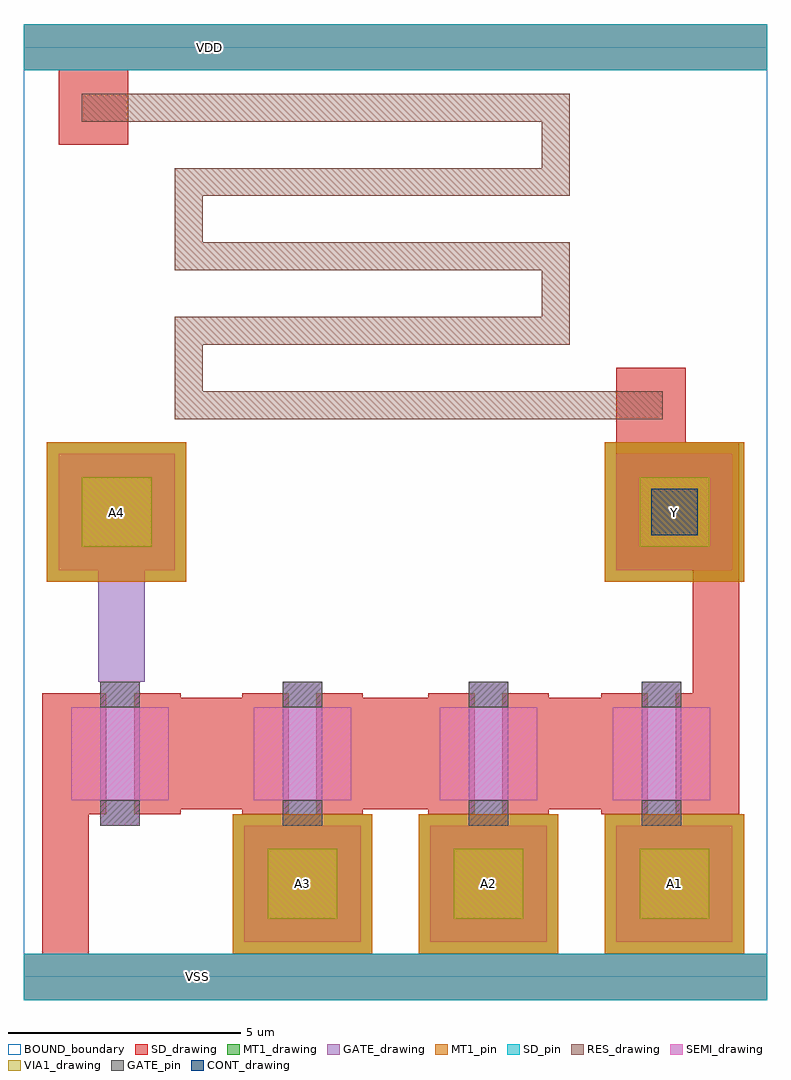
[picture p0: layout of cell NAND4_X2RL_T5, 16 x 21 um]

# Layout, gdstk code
from math import pi, radians
import gdstk
lib = gdstk.Library(unit=1e-6, precision=1e-09)
def R(c, l, rs):  # rectangles x0, y0, x1, y1
    for r in rs: c.add(gdstk.rectangle(r[:2], r[2:], *l))
def A(c, l, x, y, w, h, nx, ny, dx, dy):  # array of equal rectangles
    R(c, l, [(x+i*dx, y+j*dy, x+i*dx+w, y+j*dy+h) for i in range(nx) for j in range(ny)])
def P(c, l, *ps):  # polygons
    for p in ps: c.add(gdstk.Polygon(p, *l))
RES_drawing = (1, 0)
SEMI_drawing = (3, 0)
SD_drawing = (10, 0)
SD_pin = (10, 3)
GATE_drawing = (11, 0)
GATE_pin = (11, 3)
MT1_drawing = (20, 0)
MT1_pin = (20, 3)
CONT_drawing = (30, 0)
VIA1_drawing = (41, 0)
BOUND_boundary = (150, 5)

nch_cdns_772545048010 = lib.new_cell('nch_CDNS_772545048010')
R(nch_cdns_772545048010, SEMI_drawing, [(-1.05,-1,1.05,1)])
R(nch_cdns_772545048010, SD_drawing, [(-1.3,-1.3,-0.3,1.3), (0.3,-1.3,1.3,1.3)])
R(nch_cdns_772545048010, GATE_drawing, [(-0.425,-1.55,0.425,1.55)])
R(nch_cdns_772545048010, GATE_pin, [(-0.425,-1.55,0.425,-1), (-0.425,1,0.425,1.55)])

nch_cdns_772545048011 = lib.new_cell('nch_CDNS_772545048011')
R(nch_cdns_772545048011, SEMI_drawing, [(-1.05,-1,1.05,1)])
R(nch_cdns_772545048011, SD_drawing, [(-1.3,-1.3,-0.3,1.3), (0.3,-1.3,1.3,1.3)])
R(nch_cdns_772545048011, GATE_drawing, [(-0.425,-1.55,0.425,1.55)])
R(nch_cdns_772545048011, GATE_pin, [(-0.425,-1.55,0.425,-1), (-0.425,1,0.425,1.55)])

nch_cdns_772545048012 = lib.new_cell('nch_CDNS_772545048012')
R(nch_cdns_772545048012, SEMI_drawing, [(-1.05,-1,1.05,1)])
R(nch_cdns_772545048012, SD_drawing, [(-1.3,-1.3,-0.3,1.3), (0.3,-1.3,1.3,1.3)])
R(nch_cdns_772545048012, GATE_drawing, [(-0.425,-1.55,0.425,1.55)])
R(nch_cdns_772545048012, GATE_pin, [(-0.425,-1.55,0.425,-1), (-0.425,1,0.425,1.55)])

res_cdns_772545048013 = lib.new_cell('res_CDNS_772545048013')
A(res_cdns_772545048013, RES_drawing, -3.5, -4.25, 0.6, 8.5, 5, 1, 1.6, 0)
R(res_cdns_772545048013, RES_drawing, [(2.9,-6.25,3.5,-4.25), (-2.9,-4.25,-1.9,-3.65), (0.3,-4.25,1.3,-3.65), (-1.3,3.65,-0.3,4.25), (1.9,3.65,2.9,4.25), (-3.5,4.25,-2.9,6.25)])
R(res_cdns_772545048013, SD_drawing, [(2.4,-6.75,4,-5.25), (-4,5.25,-2.4,6.75)])

sd_gate_cdns_77254504801 = lib.new_cell('SD_GATE_CDNS_772545048010')
R(sd_gate_cdns_77254504801, SD_drawing, [(-1,-1,1,1)])
R(sd_gate_cdns_77254504801, GATE_drawing, [(-1,-1,1,1)])
R(sd_gate_cdns_77254504801, CONT_drawing, [(-0.5,-0.5,0.5,0.5)])

gate_mt1_cdns_7725450480 = lib.new_cell('GATE_MT1_CDNS_772545048011')
R(gate_mt1_cdns_7725450480, GATE_drawing, [(-1.25,-1.25,1.25,1.25)])
R(gate_mt1_cdns_7725450480, MT1_drawing, [(-1.25,-1.25,1.25,1.25)])
R(gate_mt1_cdns_7725450480, VIA1_drawing, [(-0.75,-0.75,0.75,0.75)])

nand4_x2rl_t5 = lib.new_cell('NAND4_X2RL_T5')
R(nand4_x2rl_t5, SD_drawing, [(0.4,0.5,1.4,6.1), (3.375,3.6,4.7,6), (7.3,3.6,8.7,6), (11.3,3.6,12.425,6), (12.75,8.75,15.25,11.25), (12.75,11.25,15.25,11.5)])
R(nand4_x2rl_t5, SD_pin, [(0,-0.5,16,0.5), (0,19.5,16,20.5)])
P(nand4_x2rl_t5, GATE_drawing, [(2.6,6.45),(1.6,6.45),(1.6,6.35),(1.7,6.35),(1.7,6.3),(2.45,6.3),(2.45,6.35),(2.6,6.35)],
  [(5.475,3.15),(6.475,3.15),(6.475,3.25),(6.375,3.25),(6.375,3.3),(5.625,3.3),(5.625,3.25),(5.475,3.25)],
  [(9.475,3.15),(10.475,3.15),(10.475,3.25),(10.375,3.25),(10.375,3.3),(9.625,3.3),(9.625,3.25),(9.475,3.25)],
  [(13.2,3.15),(14.2,3.15),(14.2,3.25),(14.1,3.25),(14.1,3.3),(13.35,3.3),(13.35,3.25),(13.2,3.25)])
A(nand4_x2rl_t5, MT1_drawing, 4.5, 0.5, 3, 3, 3, 1, 4, 0)
R(nand4_x2rl_t5, MT1_drawing, [(0.5,8.5,3.5,11.5), (12.5,8.5,15.5,11.5)])
A(nand4_x2rl_t5, MT1_pin, 4.5, 0.5, 3, 3, 3, 1, 4, 0)
R(nand4_x2rl_t5, MT1_pin, [(0.5,8.5,3.5,11.5), (12.5,8.5,15.5,11.5)])
R(nand4_x2rl_t5, BOUND_boundary, [(0,0,16,20)])
nand4_x2rl_t5.add(gdstk.FlexPath([(2.1,6.45),(2.1,8.75)], 1, ends="flush", simple_path=True, layer=11, datatype=0))  # GATE_drawing
nand4_x2rl_t5.add(gdstk.FlexPath([(0,20),(16,20)], 1, ends="flush", simple_path=True, layer=10, datatype=0))  # SD_drawing
nand4_x2rl_t5.add(gdstk.FlexPath([(0,0),(16,0)], 1, ends="flush", simple_path=True, layer=10, datatype=0))  # SD_drawing
nand4_x2rl_t5.add(gdstk.FlexPath([(14.9,3.5),(14.9,11.5)], 1, ends="flush", simple_path=True, layer=10, datatype=0))  # SD_drawing
nand4_x2rl_t5.add(gdstk.Reference(nch_cdns_772545048010, (2.075,4.8)))
nand4_x2rl_t5.add(gdstk.Reference(nch_cdns_772545048011, (13.725,4.8)))
nand4_x2rl_t5.add(gdstk.Reference(nch_cdns_772545048011, (10,4.8), rotation=pi))
nand4_x2rl_t5.add(gdstk.Reference(nch_cdns_772545048012, (6,4.8)))
nand4_x2rl_t5.add(gdstk.Reference(res_cdns_772545048013, (7.5,15.5), rotation=3*pi/2, x_reflection=True))
nand4_x2rl_t5.add(gdstk.Reference(sd_gate_cdns_77254504801, (14,10)))
nand4_x2rl_t5.add(gdstk.Reference(gate_mt1_cdns_7725450480, (6,2)))
nand4_x2rl_t5.add(gdstk.Reference(gate_mt1_cdns_7725450480, (2,10)))
nand4_x2rl_t5.add(gdstk.Reference(gate_mt1_cdns_7725450480, (10,2)))
nand4_x2rl_t5.add(gdstk.Reference(gate_mt1_cdns_7725450480, (14,2)))
nand4_x2rl_t5.add(gdstk.Reference(gate_mt1_cdns_7725450480, (14,10)))
nand4_x2rl_t5.add(gdstk.Label('Y', (14,10), layer=20, texttype=3))
nand4_x2rl_t5.add(gdstk.Label('A3', (6,2), layer=20, texttype=3))
nand4_x2rl_t5.add(gdstk.Label('A2', (10,2), layer=20, texttype=3))
nand4_x2rl_t5.add(gdstk.Label('A1', (14,2), layer=20, texttype=3))
nand4_x2rl_t5.add(gdstk.Label('A4', (2,10), layer=20, texttype=3))
nand4_x2rl_t5.add(gdstk.Label('VDD', (4,20), layer=10, texttype=3))
nand4_x2rl_t5.add(gdstk.Label('VSS', (3.75,0), layer=10, texttype=3))

lib.write_gds('NAND4_X2RL_T5.gds')
